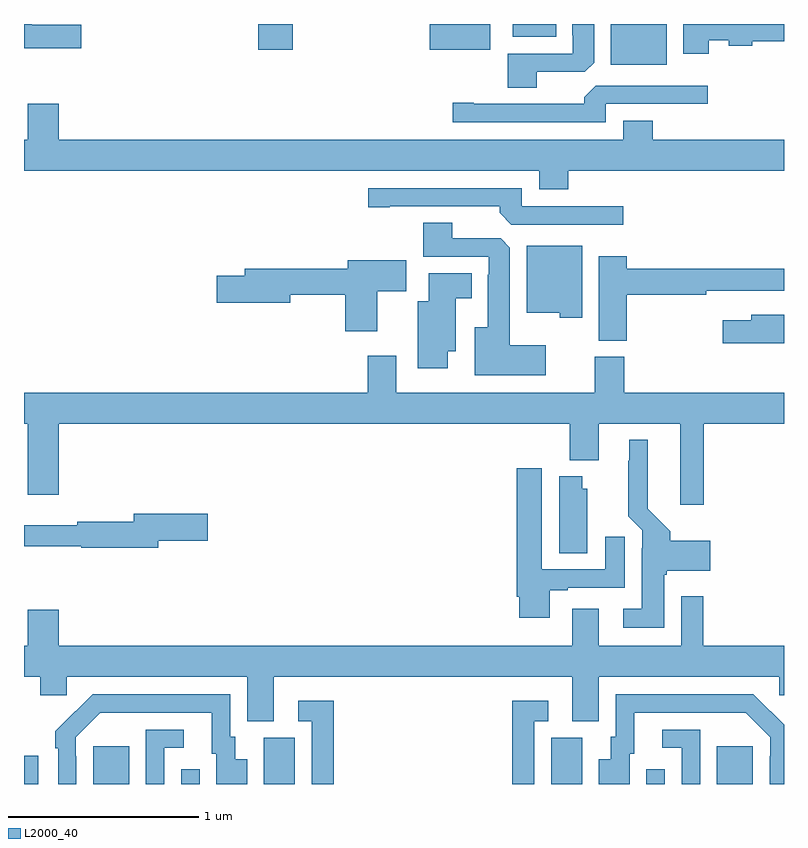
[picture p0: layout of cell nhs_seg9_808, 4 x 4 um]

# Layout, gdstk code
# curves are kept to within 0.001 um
import gdstk
lib = gdstk.Library(unit=1e-6, precision=1e-09)
def R(c, l, rs):  # rectangles x0, y0, x1, y1
    for r in rs: c.add(gdstk.rectangle(r[:2], r[2:], *l))
def P(c, l, *ps):  # polygons
    for p in ps: c.add(gdstk.Polygon(p, *l))
L2000_40 = (2000, 40)

nhs_seg9_808 = lib.new_cell('nhs_seg9_808')
R(nhs_seg9_808, L2000_40, [(153,1218.5,153.075,1218.649), (153.365,1218.5,153.553,1218.7), (153.828,1218.5,153.924,1218.577), (154.262,1218.5,154.426,1218.744), (155.774,1218.5,155.938,1218.744), (156.276,1218.5,156.372,1218.577), (156.647,1218.5,156.835,1218.7), (156.089,1222.286,156.382,1222.5), (155.135,1222.364,155.455,1222.5), (154.232,1222.365,154.415,1222.5), (155.573,1222.433,155.8,1222.5)])
P(nhs_seg9_808, L2000_40, [(153.301,1222.495),(153.04,1222.495),(153.04,1222.5),(153,1222.5),(153,1222.373),(153.301,1222.373)],
  [(156.604,1222.415),(156.708,1222.415),(156.708,1222.385),(156.834,1222.385),(156.834,1222.408),(157,1222.408),(157,1222.5),(156.47,1222.5),(156.47,1222.344),(156.604,1222.344)],
  [(155.698,1222.248),(155.952,1222.248),(156.001,1222.297),(156.001,1222.5),(155.885,1222.5),(155.885,1222.441),(155.889,1222.441),(155.889,1222.344),(155.546,1222.344),(155.546,1222.165),(155.698,1222.165)],
  [(156.063,1222.08),(156.598,1222.08),(156.598,1222.176),(156.009,1222.176),(155.948,1222.114),(155.948,1222.08),(155.368,1222.08),(155.368,1222.085),(155.256,1222.085),(155.256,1221.984),(156.063,1221.984)],
  [(155.864,1221.728),(157,1221.728),(157,1221.892),(156.308,1221.892),(156.308,1221.991),(156.155,1221.991),(156.155,1221.892),(153.184,1221.892),(153.184,1222.081),(153.02,1222.081),(153.02,1221.892),(153,1221.892),(153,1221.728),(155.711,1221.728),(155.711,1221.629),(155.864,1221.629)],
  [(156.154,1221.54),(155.619,1221.54),(155.619,1221.636),(154.812,1221.636),(154.812,1221.535),(154.924,1221.535),(154.924,1221.54),(155.504,1221.54),(155.504,1221.506),(155.565,1221.444),(156.154,1221.444)],
  [(155.746,1220.809),(155.557,1220.809),(155.557,1221.323),(155.508,1221.372),(155.254,1221.372),(155.254,1221.455),(155.102,1221.455),(155.102,1221.276),(155.445,1221.276),(155.445,1221.179),(155.441,1221.179),(155.441,1220.905),(155.372,1220.905),(155.372,1220.651),(155.746,1220.651)],
  [(155.938,1221.334),(155.645,1221.334),(155.645,1220.981),(155.82,1220.981),(155.82,1220.954),(155.938,1220.954)],
  [(156.173,1221.076),(156.59,1221.076),(156.59,1221.096),(157,1221.096),(157,1221.212),(156.173,1221.212),(156.173,1221.277),(156.026,1221.277),(156.026,1220.833),(156.173,1220.833)],
  [(154.858,1221.094),(155.011,1221.094),(155.011,1221.256),(154.703,1221.256),(154.703,1221.212),(154.163,1221.212),(154.163,1221.176),(154.014,1221.176),(154.014,1221.034),(154.402,1221.034),(154.402,1221.076),(154.691,1221.076),(154.691,1220.883),(154.858,1220.883)],
  [(155.23,1220.777),(155.272,1220.777),(155.272,1221.056),(155.356,1221.056),(155.356,1221.187),(155.129,1221.187),(155.129,1221.04),(155.072,1221.04),(155.072,1220.688),(155.23,1220.688)],
  [(157,1220.97),(156.827,1220.97),(156.827,1220.941),(156.678,1220.941),(156.678,1220.819),(157,1220.819)],
  [(156.578,1220.396),(157,1220.396),(157,1220.56),(156.158,1220.56),(156.158,1220.748),(156.005,1220.748),(156.005,1220.56),(154.96,1220.56),(154.96,1220.755),(154.808,1220.755),(154.808,1220.56),(153,1220.56),(153,1220.396),(153.02,1220.396),(153.02,1220.022),(153.184,1220.022),(153.184,1220.396),(155.873,1220.396),(155.873,1220.204),(156.025,1220.204),(156.025,1220.396),(156.455,1220.396),(156.455,1219.971),(156.578,1219.971)],
  [(156.37,1219.602),(156.384,1219.602),(156.384,1219.622),(156.613,1219.622),(156.613,1219.78),(156.401,1219.78),(156.401,1219.83),(156.283,1219.948),(156.283,1220.311),(156.185,1220.311),(156.185,1220.201),(156.181,1220.201),(156.181,1219.91),(156.255,1219.836),(156.255,1219.742),(156.251,1219.742),(156.251,1219.423),(156.153,1219.423),(156.153,1219.322),(156.37,1219.322)],
  [(155.767,1219.521),(155.863,1219.521),(155.863,1219.533),(156.163,1219.533),(156.163,1219.801),(156.059,1219.801),(156.059,1219.629),(155.725,1219.629),(155.725,1220.161),(155.594,1220.161),(155.594,1219.486),(155.606,1219.486),(155.606,1219.374),(155.767,1219.374)],
  [(155.965,1220.055),(155.938,1220.055),(155.938,1220.119),(155.816,1220.119),(155.816,1219.714),(155.965,1219.714)],
  [(153.706,1219.781),(153.967,1219.781),(153.967,1219.923),(153.578,1219.923),(153.578,1219.88),(153.28,1219.88),(153.28,1219.861),(153,1219.861),(153,1219.752),(153.302,1219.752),(153.302,1219.744),(153.706,1219.744)],
  [(154.315,1219.064),(155.885,1219.064),(155.885,1218.829),(156.025,1218.829),(156.025,1219.064),(156.975,1219.064),(156.975,1218.966),(157,1218.966),(157,1219.228),(156.575,1219.228),(156.575,1219.489),(156.459,1219.489),(156.459,1219.228),(156.025,1219.228),(156.025,1219.423),(155.885,1219.423),(155.885,1219.228),(153.184,1219.228),(153.184,1219.417),(153.02,1219.417),(153.02,1219.228),(153,1219.228),(153,1219.064),(153.086,1219.064),(153.086,1218.966),(153.225,1218.966),(153.225,1219.064),(154.175,1219.064),(154.175,1218.829),(154.315,1218.829)],
  [(156.187,1218.66),(156.211,1218.66),(156.211,1218.876),(156.799,1218.876),(156.927,1218.747),(156.927,1218.647),(156.924,1218.647),(156.924,1218.5),(157,1218.5),(157,1218.812),(156.838,1218.972),(156.114,1218.972),(156.114,1218.75),(156.089,1218.75),(156.089,1218.631),(156.026,1218.631),(156.026,1218.5),(156.187,1218.5)],
  [(153.276,1218.647),(153.273,1218.647),(153.273,1218.747),(153.402,1218.876),(153.989,1218.876),(153.989,1218.66),(154.013,1218.66),(154.013,1218.5),(154.174,1218.5),(154.174,1218.631),(154.111,1218.631),(154.111,1218.75),(154.086,1218.75),(154.086,1218.972),(153.362,1218.972),(153.165,1218.777),(153.165,1218.689),(153.18,1218.689),(153.18,1218.5),(153.276,1218.5)],
  [(155.685,1218.831),(155.758,1218.831),(155.758,1218.937),(155.569,1218.937),(155.569,1218.5),(155.685,1218.5)],
  [(154.631,1218.937),(154.443,1218.937),(154.443,1218.831),(154.515,1218.831),(154.515,1218.5),(154.631,1218.5)],
  [(156.558,1218.786),(156.36,1218.786),(156.36,1218.69),(156.462,1218.69),(156.462,1218.5),(156.558,1218.5)],
  [(153.738,1218.69),(153.841,1218.69),(153.841,1218.786),(153.642,1218.786),(153.642,1218.5),(153.738,1218.5)])

lib.write_gds('nhs_seg9_808.gds')
